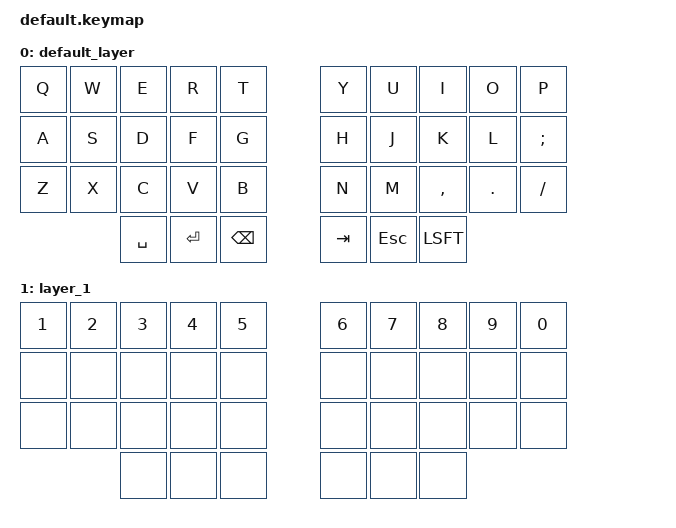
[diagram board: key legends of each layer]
/ {
    keymap {
        compatible = "zmk,keymap";

        default_layer {
            bindings = <
                &kp Q &kp W &kp E &kp R &kp T &kp Y &kp U &kp I &kp O &kp P
                &kp A &kp S &kp D &kp F &kp G &kp H &kp J &kp K &kp L &kp SCLN
                &kp Z &kp X &kp C &kp V &kp B &kp N &kp M &kp COMMA &kp DOT &kp SLASH
                &kp SPACE &kp ENTER &kp BSPC &kp TAB &kp ESC &kp LSFT
            >;
        };

        layer_1 {
            bindings = <
                &kp 1 &kp 2 &kp 3 &kp 4 &kp 5 &kp 6 &kp 7 &kp 8 &kp 9 &kp 0
                &none &none &none &none &none &none &none &none &none &none
                &none &none &none &none &none &none &none &none &none &none
                &none &none &none &none &none &none
            >;
        };
    };
};
